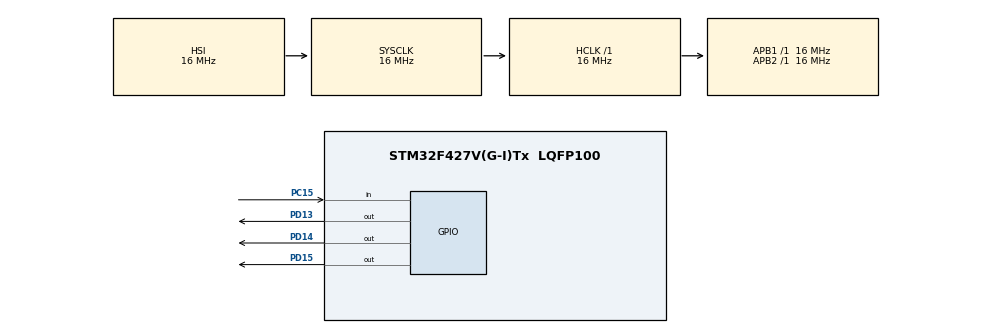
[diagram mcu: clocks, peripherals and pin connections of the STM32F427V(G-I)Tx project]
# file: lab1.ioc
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Mcu.Family=STM32F4
Mcu.Name=STM32F427V(G-I)Tx
Mcu.Package=LQFP100
NVIC.PriorityGroup=NVIC_PRIORITYGROUP_4
PA13.Mode=JTAG_5_pins
PA13.Signal=SYS_JTMS-SWDIO
PA14.Mode=JTAG_5_pins
PA14.Signal=SYS_JTCK-SWCLK
PA15.Mode=JTAG_5_pins
PA15.Signal=SYS_JTDI
PB3.Mode=JTAG_5_pins
PB3.Signal=SYS_JTDO-SWO
PB4.Mode=JTAG_5_pins
PB4.Signal=SYS_JTRST
PC15/OSC32_OUT.Signal=GPIO_Input
PD13.Signal=GPIO_Output
PD14.Signal=GPIO_Output
PD15.Signal=GPIO_Output
ProjectManager.HeapSize=0x200
ProjectManager.StackSize=0x400
ProjectManager.TargetToolchain=STM32CubeIDE
RCC.AHBFreq_Value=16000000
RCC.APB1Freq_Value=16000000
RCC.APB2Freq_Value=16000000
RCC.CortexFreq_Value=16000000
RCC.HSE_VALUE=25000000
RCC.HSI_VALUE=16000000
RCC.LSE_VALUE=32768
RCC.SYSCLKFreq_VALUE=16000000
RCC.VCOOutputFreq_Value=192000000
board=custom

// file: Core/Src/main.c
/* USER CODE BEGIN Header */
/**
  ******************************************************************************
  * @file           : main.c
  * @brief          : Main program body
  ******************************************************************************
  * @attention
  *
  * Copyright (c) 2023 STMicroelectronics.
  * All rights reserved.
  *
  * This software is licensed under terms that can be found in the LICENSE file
  * in the root directory of this software component.
  * If no LICENSE file comes with this software, it is provided AS-IS.
  *
  ******************************************************************************
  */
/* USER CODE END Header */
#include "main.h"

void SystemClock_Config(void);
static void MX_GPIO_Init(void);

int main(void)
{

  /* MCU Configuration--------------------------------------------------------*/

  /* Reset of all peripherals, Initializes the Flash interface and the Systick. */
  HAL_Init();

  /* Configure the system clock */
  SystemClock_Config();

  /* Initialize all configured peripherals */
  MX_GPIO_Init();
  /* USER CODE BEGIN 2 */
  int count = 0;
   int overflow_count = 0;
   _Bool was_pressed = 0;
   _Bool is_long_press = 0;
   uint32_t wait = 500;
   int a[8] = {0,0,1,0,0,1,1,1};
   int step = 0;
   int errs = 0;

  /* USER CODE END 2 */

  /* Infinite loop */
  /* USER CODE BEGIN WHILE */
  while (1)
  {
	  int init_time = HAL_GetTick();
	  int start_time;
	  int button_state = HAL_GPIO_ReadPin(GPIOC, GPIO_PIN_15);
	  was_pressed = 0;
	  is_long_press = 0;

	  if (HAL_GetTick() - init_time > 20000) {
		  step = 0;
	  }
	  if(!button_state){
	  		  start_time = HAL_GetTick();
	  }
	  while (!button_state){
	  		  was_pressed = 1;
	  		  if (HAL_GetTick() - start_time >= wait){
	  			  is_long_press = 1;
	  		  }
	  		  button_state = HAL_GPIO_ReadPin(GPIOC, GPIO_PIN_15);
	  }

	  if (was_pressed){
		  if ((a[step] == 1 && is_long_press) || ( a[step] == 0 && !is_long_press)){
			  step++;
			  HAL_GPIO_WritePin(GPIOD, GPIO_PIN_14, GPIO_PIN_RESET);
			  			  	  HAL_Delay(250);
			  			  	  HAL_GPIO_WritePin(GPIOD, GPIO_PIN_14, GPIO_PIN_SET);
			  			  	  HAL_Delay(250);
		  } else {
			  errs++;
			  step = 0;
			  HAL_GPIO_WritePin(GPIOD, GPIO_PIN_15, GPIO_PIN_RESET);
			  				  			  	  HAL_Delay(250);
			  				  			  	  HAL_GPIO_WritePin(GPIOD, GPIO_PIN_15, GPIO_PIN_SET);
			  				  			  	  HAL_Delay(250);
			  if (errs >= 3) {
				  errs = 0;
				  HAL_GPIO_WritePin(GPIOD, GPIO_PIN_15, GPIO_PIN_RESET);
				  			  	  HAL_Delay(250);
				  			  	  HAL_GPIO_WritePin(GPIOD, GPIO_PIN_15, GPIO_PIN_SET);
				  			  	  HAL_Delay(250);
				  			  	HAL_GPIO_WritePin(GPIOD, GPIO_PIN_15, GPIO_PIN_RESET);
				  			  					  			  	  HAL_Delay(250);
				  			  					  			  	  HAL_GPIO_WritePin(GPIOD, GPIO_PIN_15, GPIO_PIN_SET);
				  			  					  			  	  HAL_Delay(250);
				  			  					  			HAL_GPIO_WritePin(GPIOD, GPIO_PIN_15, GPIO_PIN_RESET);
				  			  					  							  			  	  HAL_Delay(250);
				  			  					  							  			  	  HAL_GPIO_WritePin(GPIOD, GPIO_PIN_15, GPIO_PIN_SET);
				  			  					  							  			  	  HAL_Delay(250);
				  			  					  							  			HAL_GPIO_WritePin(GPIOD, GPIO_PIN_15, GPIO_PIN_RESET);
				  			  					  							  							  			  	  HAL_Delay(250);
				  			  					  							  							  			  	  HAL_GPIO_WritePin(GPIOD, GPIO_PIN_15, GPIO_PIN_SET);
				  			  					  							  							  			  	  HAL_Delay(250);
				  			  					  							  							  		HAL_GPIO_WritePin(GPIOD, GPIO_PIN_15, GPIO_PIN_RESET);
				  			  					  							  							  						  			  	  HAL_Delay(250);
				  			  					  							  							  						  			  	  HAL_GPIO_WritePin(GPIOD, GPIO_PIN_15, GPIO_PIN_SET);
				  			  					  							  							  						  			  	  HAL_Delay(250);
				  			  					  							  							  						  		HAL_GPIO_WritePin(GPIOD, GPIO_PIN_15, GPIO_PIN_RESET);
				  			  					  							  							  						  						  			  	  HAL_Delay(250);
				  			  					  							  							  						  						  			  	  HAL_GPIO_WritePin(GPIOD, GPIO_PIN_15, GPIO_PIN_SET);
				  			  					  							  							  						  						  			  	  HAL_Delay(250);

			  }

		  }

		  if (step >= 8) {
			  step = 0;
			  HAL_GPIO_WritePin(GPIOD, GPIO_PIN_13, GPIO_PIN_RESET);
			  			  	  HAL_Delay(250);
			  			  	  HAL_GPIO_WritePin(GPIOD, GPIO_PIN_13, GPIO_PIN_SET);
			  			  	  HAL_Delay(2500);
		  }

		  HAL_GPIO_WritePin(GPIOD, GPIO_PIN_13, GPIO_PIN_RESET);
		  HAL_GPIO_WritePin(GPIOD, GPIO_PIN_14, GPIO_PIN_RESET);
		  HAL_GPIO_WritePin(GPIOD, GPIO_PIN_15, GPIO_PIN_RESET);
	  }

    /* USER CODE END WHILE */

  }
}

void SystemClock_Config(void)
{
  RCC_OscInitTypeDef RCC_OscInitStruct = {0};
  RCC_ClkInitTypeDef RCC_ClkInitStruct = {0};

  /** Configure the main internal regulator output voltage
  */
  __HAL_RCC_PWR_CLK_ENABLE();
  __HAL_PWR_VOLTAGESCALING_CONFIG(PWR_REGULATOR_VOLTAGE_SCALE3);

  /** Initializes the RCC Oscillators according to the specified parameters
  * in the RCC_OscInitTypeDef structure.
  */
  RCC_OscInitStruct.OscillatorType = RCC_OSCILLATORTYPE_HSI;
  RCC_OscInitStruct.HSIState = RCC_HSI_ON;
  RCC_OscInitStruct.HSICalibrationValue = RCC_HSICALIBRATION_DEFAULT;
  RCC_OscInitStruct.PLL.PLLState = RCC_PLL_NONE;
  if (HAL_RCC_OscConfig(&RCC_OscInitStruct) != HAL_OK)
  {
    Error_Handler();
  }

  /** Initializes the CPU, AHB and APB buses clocks
  */
  RCC_ClkInitStruct.ClockType = RCC_CLOCKTYPE_HCLK|RCC_CLOCKTYPE_SYSCLK
                              |RCC_CLOCKTYPE_PCLK1|RCC_CLOCKTYPE_PCLK2;
  RCC_ClkInitStruct.SYSCLKSource = RCC_SYSCLKSOURCE_HSI;
  RCC_ClkInitStruct.AHBCLKDivider = RCC_SYSCLK_DIV1;
  RCC_ClkInitStruct.APB1CLKDivider = RCC_HCLK_DIV1;
  RCC_ClkInitStruct.APB2CLKDivider = RCC_HCLK_DIV1;

  if (HAL_RCC_ClockConfig(&RCC_ClkInitStruct, FLASH_LATENCY_0) != HAL_OK)
  {
    Error_Handler();
  }
}

static void MX_GPIO_Init(void)
{
  GPIO_InitTypeDef GPIO_InitStruct = {0};

  /* GPIO Ports Clock Enable */
  __HAL_RCC_GPIOC_CLK_ENABLE();
  __HAL_RCC_GPIOD_CLK_ENABLE();
  __HAL_RCC_GPIOA_CLK_ENABLE();
  __HAL_RCC_GPIOB_CLK_ENABLE();

  /*Configure GPIO pin Output Level */
  HAL_GPIO_WritePin(GPIOD, GPIO_PIN_13|GPIO_PIN_14|GPIO_PIN_15, GPIO_PIN_RESET);

  /*Configure GPIO pin : PC15 */
  GPIO_InitStruct.Pin = GPIO_PIN_15;
  GPIO_InitStruct.Mode = GPIO_MODE_INPUT;
  GPIO_InitStruct.Pull = GPIO_NOPULL;
  HAL_GPIO_Init(GPIOC, &GPIO_InitStruct);

  /*Configure GPIO pins : PD13 PD14 PD15 */
  GPIO_InitStruct.Pin = GPIO_PIN_13|GPIO_PIN_14|GPIO_PIN_15;
  GPIO_InitStruct.Mode = GPIO_MODE_OUTPUT_PP;
  GPIO_InitStruct.Pull = GPIO_NOPULL;
  GPIO_InitStruct.Speed = GPIO_SPEED_FREQ_LOW;
  HAL_GPIO_Init(GPIOD, &GPIO_InitStruct);

}

void Error_Handler(void)
{
  __disable_irq();
  while (1)
  {
  }
}
